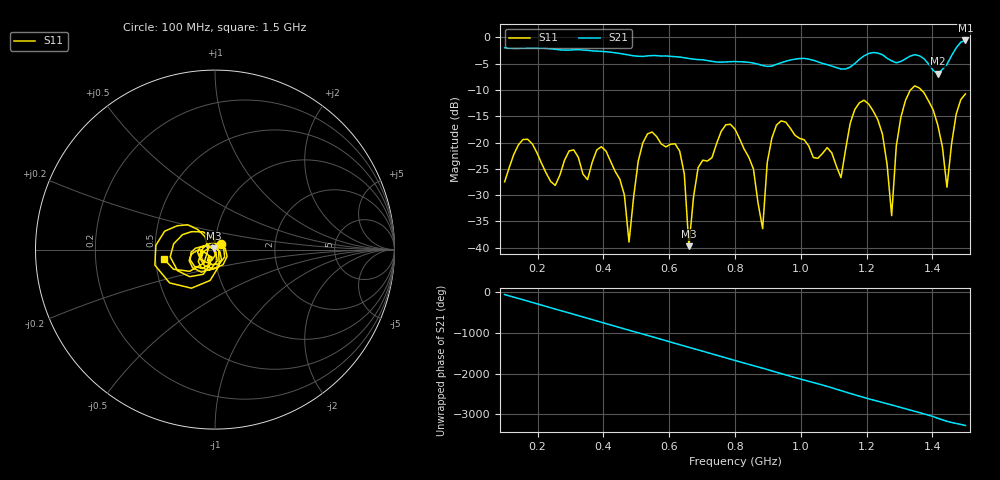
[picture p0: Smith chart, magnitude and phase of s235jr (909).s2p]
! NanoVNA-App
! Date: 2025-09-25 15:11:15
! Start: 100MHz Stop: 1,5GHz Points: 101
! S-Parameter data: F S11 S21 S12 S22
# Hz S RI R 50
!  Frequency  S11_Real  S11_Imag  S21_Real  S21_Imag  S12_Real  S12_Imag  S22_Real  S22_Imag
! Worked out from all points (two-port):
!   101 points, 100 MHz to 1.5 GHz, reference 50 ohm
!   highest |S21| = -0.58 dB at 1.5 GHz (marker M1); lowest = -6.9 dB at 1.416 GHz (marker M2)
!   |S21| within 3 dB of the highest: start of sweep to 505.5 MHz; 524.7 MHz to 599.6 MHz (74.9 MHz wide, 13.3 % of centre) (the widest 2 of 5)
!   lowest |S11| = -39.7 dB at 660 MHz (marker M3), VSWR 1.02, Z = 49.2 + j0.638 ohm
!   |S11| at or under -10 dB: start of sweep to 1.333 GHz; 1.366 GHz to end of sweep
!   S12 and S22 are empty: the file has one direction only
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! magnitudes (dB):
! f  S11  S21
! 100 MHz  -27.5  -2.0
! 156 MHz  -19.4  -2.0
! 338 MHz  -26.0  -2.4
! 408 MHz  -21.6  -2.7
! 478 MHz  -38.9  -3.4
! 520 MHz  -20.0  -3.6
! 576 MHz  -20.3  -3.5
! 632 MHz  -21.6  -3.7
! 660 MHz  -39.7  -4.0
! 688 MHz  -24.8  -4.2
! 800 MHz  -17.5  -4.6
! 884 MHz  -36.4  -5.3
! 926 MHz  -16.7  -5.1
! 1.038 GHz  -22.9  -4.3
! 1.122 GHz  -26.7  -6.0
! 1.192 GHz  -11.9  -3.5
! 1.248 GHz  -18.4  -3.3
! 1.276 GHz  -33.9  -4.5
! 1.332 GHz  -10.1  -3.6
! 1.416 GHz  -16.6  -6.9
! 1.444 GHz  -28.5  -5.1
! 1.5 GHz  -10.7  -0.6
